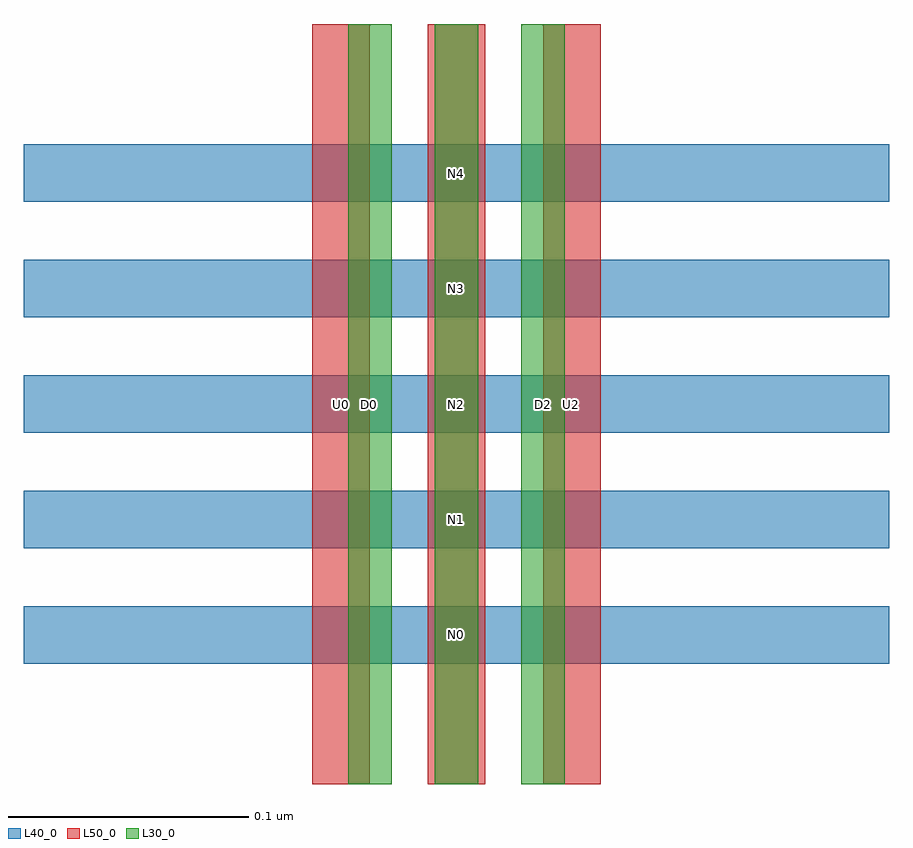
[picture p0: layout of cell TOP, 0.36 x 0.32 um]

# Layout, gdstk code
import gdstk
lib = gdstk.Library(unit=1e-6, precision=2.5e-10)
def R(c, l, rs):  # rectangles x0, y0, x1, y1
    for r in rs: c.add(gdstk.rectangle(r[:2], r[2:], *l))
def A(c, l, x, y, w, h, nx, ny, dx, dy):  # array of equal rectangles
    R(c, l, [(x+i*dx, y+j*dy, x+i*dx+w, y+j*dy+h) for i in range(nx) for j in range(ny)])
L30_0 = (30, 0)
L40_0 = (40, 0)
L50_0 = (50, 0)

top = lib.new_cell('TOP')
A(top, L30_0, 0.135, -0.05, 0.018, 0.316, 3, 1, 0.036, 0)
A(top, L40_0, 0, 0, 0.36, 0.024, 1, 5, 0, 0.048)
A(top, L50_0, 0.12, -0.05, 0.024, 0.316, 3, 1, 0.048, 0)
top.add(gdstk.Label('N0', (0.18,0.012), layer=40, texttype=251))
top.add(gdstk.Label('N1', (0.18,0.06), layer=40, texttype=251))
top.add(gdstk.Label('N2', (0.18,0.108), layer=40, texttype=251))
top.add(gdstk.Label('N3', (0.18,0.156), layer=40, texttype=251))
top.add(gdstk.Label('N4', (0.18,0.204), layer=40, texttype=251))
top.add(gdstk.Label('D0', (0.144,0.108), layer=30, texttype=251))
top.add(gdstk.Label('D1', (0.18,0.108), layer=30, texttype=251))
top.add(gdstk.Label('D2', (0.216,0.108), layer=30, texttype=251))
top.add(gdstk.Label('U0', (0.132,0.108), layer=50, texttype=251))
top.add(gdstk.Label('U1', (0.18,0.108), layer=50, texttype=251))
top.add(gdstk.Label('U2', (0.228,0.108), layer=50, texttype=251))

lib.write_gds('TOP.gds')
